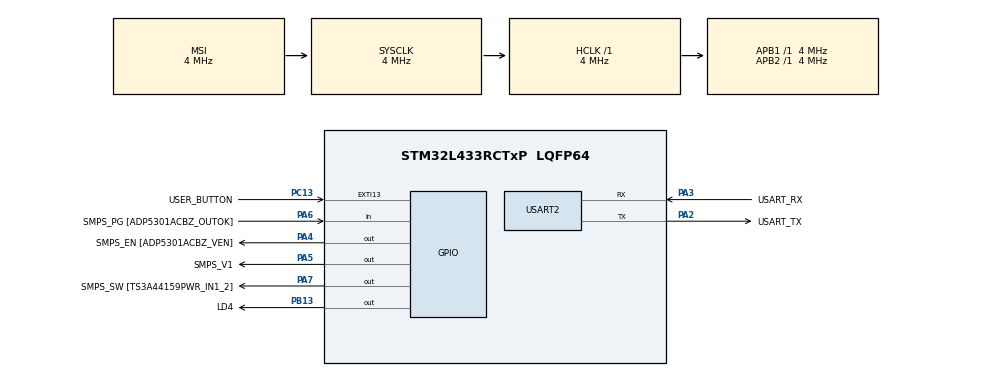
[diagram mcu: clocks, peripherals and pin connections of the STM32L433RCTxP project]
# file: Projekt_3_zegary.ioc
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IWDG.Prescaler=IWDG_PRESCALER_32
Mcu.Family=STM32L4
Mcu.Name=STM32L433RCTxP
Mcu.Package=LQFP64
NVIC.PriorityGroup=NVIC_PRIORITYGROUP_4
NVIC.RTC_WKUP_IRQn=true\:0\:0\:false\:false\:true\:true\:true\:true
PA13\ (JTMS-SWDIO).GPIO_Label=TMS
PA13\ (JTMS-SWDIO).Mode=Serial_Wire
PA13\ (JTMS-SWDIO).Signal=SYS_JTMS-SWDIO
PA14\ (JTCK-SWCLK).GPIO_Label=TCK
PA14\ (JTCK-SWCLK).Mode=Serial_Wire
PA14\ (JTCK-SWCLK).Signal=SYS_JTCK-SWCLK
PA2.GPIO_Label=USART_TX
PA2.GPIO_Mode=GPIO_MODE_AF_PP
PA2.GPIO_PuPd=GPIO_NOPULL
PA2.GPIO_Speed=GPIO_SPEED_FREQ_VERY_HIGH
PA2.Mode=Asynchronous
PA2.Signal=USART2_TX
PA3.GPIO_Label=USART_RX
PA3.GPIO_Mode=GPIO_MODE_AF_PP
PA3.GPIO_PuPd=GPIO_NOPULL
PA3.GPIO_Speed=GPIO_SPEED_FREQ_VERY_HIGH
PA3.Mode=Asynchronous
PA3.Signal=USART2_RX
PA4.GPIO_Label=SMPS_EN [ADP5301ACBZ_VEN]
PA4.Signal=GPIO_Output
PA5.GPIO_Label=SMPS_V1
PA5.GPIO_ModeDefaultOutputPP=GPIO_MODE_OUTPUT_PP
PA5.GPIO_PuPd=GPIO_NOPULL
PA5.GPIO_Speed=GPIO_SPEED_FREQ_LOW
PA5.Signal=GPIO_Output
PA6.GPIO_Label=SMPS_PG [ADP5301ACBZ_OUTOK]
PA6.GPIO_PuPd=GPIO_PULLUP
PA6.Signal=GPIO_Input
PA7.GPIO_Label=SMPS_SW [TS3A44159PWR_IN1_2]
PA7.Signal=GPIO_Output
PB13.GPIO_Label=LD4
PB13.Signal=GPIO_Output
PB3\ (JTDO-TRACESWO).GPIO_Label=SWO
PB3\ (JTDO-TRACESWO).Signal=SYS_JTDO-SWO
PC13.GPIO_Label=USER_BUTTON
PC13.GPIO_ModeDefaultEXTI=GPIO_MODE_IT_FALLING
PC13.GPIO_PuPd=GPIO_NOPULL
PC13.Signal=GPXTI13
PC14-OSC32_IN\ (PC14).Mode=LSE-External-Oscillator
PC14-OSC32_IN\ (PC14).Signal=RCC_OSC32_IN
PC15-OSC32_OUT\ (PC15).Mode=LSE-External-Oscillator
PC15-OSC32_OUT\ (PC15).Signal=RCC_OSC32_OUT
PH0-OSC_IN\ (PH0).GPIO_Label=MCO
PH0-OSC_IN\ (PH0).Mode=HSE-External-Clock-Source
PH0-OSC_IN\ (PH0).Signal=RCC_OSC_IN
PH1-OSC_OUT\ (PH1).Signal=RCC_OSC_OUT
ProjectManager.HeapSize=0x200
ProjectManager.StackSize=0x400
ProjectManager.TargetToolchain=STM32CubeIDE
RCC.ADCFreq_Value=16000000
RCC.AHBFreq_Value=4000000
RCC.APB1Freq_Value=4000000
RCC.APB1TimFreq_Value=4000000
RCC.APB2Freq_Value=4000000
RCC.APB2TimFreq_Value=4000000
RCC.CortexFreq_Value=4000000
RCC.HCLKFreq_Value=4000000
RCC.HSE_VALUE=8000000
RCC.HSI48_VALUE=48000000
RCC.HSI_VALUE=16000000
RCC.MSI_VALUE=4000000
RCC.PLLN=16
RCC.PREFETCH_ENABLE=1
RCC.RTCClockSelection=RCC_RTCCLKSOURCE_LSE
RCC.SYSCLKFreq_VALUE=4000000
RCC.USBFreq_Value=16000000
RCC.VCOOutputFreq_Value=64000000
RTC.WakeUpCounter-WakeUp=20479
USART2.VirtualMode-Asynchronous=VM_ASYNC
VP_IWDG_VS_IWDG.Mode=IWDG_Activate
VP_RTC_VS_RTC_Activate.Mode=RTC_Enabled
VP_RTC_VS_RTC_WakeUp_intern.Mode=WakeUp
board=NUCLEO-L433RC-P

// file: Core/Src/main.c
/* USER CODE BEGIN Header */
/**
  ******************************************************************************
  * @file           : main.c
  * @brief          : Main program body
  ******************************************************************************
  * @attention
  *
  * Copyright (c) 2023 STMicroelectronics.
  * All rights reserved.
  *
  * This software is licensed under terms that can be found in the LICENSE file
  * in the root directory of this software component.
  * If no LICENSE file comes with this software, it is provided AS-IS.
  *
  ******************************************************************************
  */
/* USER CODE END Header */
#include "main.h"

/* USER CODE BEGIN Includes */
#include <stdio.h>
#include <string.h>
#include <stdbool.h>
/* USER CODE END Includes */

IWDG_HandleTypeDef hiwdg;

RTC_HandleTypeDef hrtc;

UART_HandleTypeDef huart2;

void SystemClock_Config(void);
static void MX_GPIO_Init(void);
static void MX_USART2_UART_Init(void);
static void MX_RTC_Init(void);
static void MX_IWDG_Init(void);

/* USER CODE BEGIN 0 */
int __io_putchar(int ch)
{
    if (ch == '\n') {
        uint8_t ch2 = '\r';
        HAL_UART_Transmit(&huart2, &ch2, 1, HAL_MAX_DELAY);
    }

    HAL_UART_Transmit(&huart2, (uint8_t*)&ch, 1, HAL_MAX_DELAY);
    return 1;
}

bool is_button_pressed(void)
{
  if (HAL_GPIO_ReadPin(USER_BUTTON_GPIO_Port, USER_BUTTON_Pin) == GPIO_PIN_SET) {
    return true;
  } else {
    return false;
  }
}
void start_measure(void)
{
	// rozpoczęcie "pomiaru"
	HAL_GPIO_WritePin(LD4_GPIO_Port, LD4_Pin, GPIO_PIN_SET);
}

void stop_measure(void)
{
	// zakończenie "pomiaru"
	HAL_GPIO_WritePin(LD4_GPIO_Port, LD4_Pin, GPIO_PIN_RESET);
}
void HAL_Delay(uint32_t Delay)
{
  uint32_t tickstart = HAL_GetTick();
  uint32_t wait = Delay;

  /* Add a period to guaranty minimum wait */
  if (wait < HAL_MAX_DELAY)
  {
    wait += (uint32_t)uwTickFreq;
  }

  while ((HAL_GetTick() - tickstart) < wait)
  {
	  __WFI();
  }
}

/* USER CODE END 0 */

int main(void)
{

  /* MCU Configuration--------------------------------------------------------*/

  /* Reset of all peripherals, Initializes the Flash interface and the Systick. */
  HAL_Init();

  /* Configure the system clock */
  SystemClock_Config();

  /* Initialize all configured peripherals */
  MX_GPIO_Init();
  MX_USART2_UART_Init();
  MX_RTC_Init();
  MX_IWDG_Init();
  /* USER CODE BEGIN 2 */

  start_measure();
    HAL_Delay(50);
    stop_measure();

    /* Enter the Standby mode */
    HAL_PWR_EnterSTANDBYMode();

  /* RTC_DateTypeDef today;
  	  today.Month = 03;
  	  today.Date = 7;
  	  today.Year = 23;
  	  today.WeekDay = RTC_WEEKDAY_TUESDAY;
  	  HAL_RTC_SetDate(&hrtc, &today, RTC_FORMAT_BIN);
  	   */

  /* USER CODE END 2 */

  /* Infinite loop */
  /* USER CODE BEGIN WHILE */
  	  uint32_t last_ms = HAL_GetTick();

  while (1)
  {

	  /*  // wykonanie pomiaru
	  		start_measure();
	  		HAL_Delay(50);
	  		stop_measure();

	  		// 10s przerwy
	  		HAL_Delay(10000);
	  		*/

	  /* uint32_t now = HAL_GetTick();
	  	  if (is_button_pressed()) {
	  		  while (1) ;
	  	  }

	  	  if (now - last_ms >= 500) {
	  		  HAL_GPIO_TogglePin(LD4_GPIO_Port, LD4_Pin);
	  		  last_ms = now;

	  		  HAL_IWDG_Refresh(&hiwdg);
	  	  }

	  RTC_TimeTypeDef time;
	  RTC_DateTypeDef date;
	  if(is_button_pressed()){
		  RTC_TimeTypeDef new_time = {};
		  while (is_button_pressed()) {};
		  new_time.Hours = 7;
		  new_time.Minutes = 45;
		  new_time.Seconds = 0;
		  HAL_RTC_SetTime(&hrtc, &new_time, RTC_FORMAT_BIN);

	  }

	  HAL_RTC_GetTime(&hrtc, &time, RTC_FORMAT_BIN);
	  HAL_RTC_GetDate(&hrtc, &date, RTC_FORMAT_BIN);

	  printf("Aktualny czas: %02d:%02d:%02d\n", time.Hours, time.Minutes, time.Seconds);
	  HAL_Delay(200);

	  RTC_TimeTypeDef time;
	  RTC_DateTypeDef date;

	  HAL_RTC_GetTime(&hrtc, &time, RTC_FORMAT_BIN);
	  HAL_RTC_GetDate(&hrtc, &date, RTC_FORMAT_BIN);

	  printf("RTC: %04d-%02d-%02d, %02d:%02d:%02d\n", 2000 + date.Year, date.Month, date.Date, time.Hours, time.Minutes, time.Seconds);
	  HAL_Delay(200);
	  */

    /* USER CODE END WHILE */

  }
}

void SystemClock_Config(void)
{
  RCC_OscInitTypeDef RCC_OscInitStruct = {0};
  RCC_ClkInitTypeDef RCC_ClkInitStruct = {0};

  /** Configure the main internal regulator output voltage
  */
  if (HAL_PWREx_ControlVoltageScaling(PWR_REGULATOR_VOLTAGE_SCALE1) != HAL_OK)
  {
    Error_Handler();
  }

  /** Configure LSE Drive Capability
  */
  HAL_PWR_EnableBkUpAccess();
  __HAL_RCC_LSEDRIVE_CONFIG(RCC_LSEDRIVE_LOW);

  /** Initializes the RCC Oscillators according to the specified parameters
  * in the RCC_OscInitTypeDef structure.
  */
  RCC_OscInitStruct.OscillatorType = RCC_OSCILLATORTYPE_LSI|RCC_OSCILLATORTYPE_LSE
                              |RCC_OSCILLATORTYPE_MSI;
  RCC_OscInitStruct.LSEState = RCC_LSE_ON;
  RCC_OscInitStruct.LSIState = RCC_LSI_ON;
  RCC_OscInitStruct.MSIState = RCC_MSI_ON;
  RCC_OscInitStruct.MSICalibrationValue = 0;
  RCC_OscInitStruct.MSIClockRange = RCC_MSIRANGE_6;
  RCC_OscInitStruct.PLL.PLLState = RCC_PLL_NONE;
  if (HAL_RCC_OscConfig(&RCC_OscInitStruct) != HAL_OK)
  {
    Error_Handler();
  }

  /** Initializes the CPU, AHB and APB buses clocks
  */
  RCC_ClkInitStruct.ClockType = RCC_CLOCKTYPE_HCLK|RCC_CLOCKTYPE_SYSCLK
                              |RCC_CLOCKTYPE_PCLK1|RCC_CLOCKTYPE_PCLK2;
  RCC_ClkInitStruct.SYSCLKSource = RCC_SYSCLKSOURCE_MSI;
  RCC_ClkInitStruct.AHBCLKDivider = RCC_SYSCLK_DIV1;
  RCC_ClkInitStruct.APB1CLKDivider = RCC_HCLK_DIV1;
  RCC_ClkInitStruct.APB2CLKDivider = RCC_HCLK_DIV1;

  if (HAL_RCC_ClockConfig(&RCC_ClkInitStruct, FLASH_LATENCY_0) != HAL_OK)
  {
    Error_Handler();
  }

  /** Enable MSI Auto calibration
  */
  HAL_RCCEx_EnableMSIPLLMode();
}

static void MX_IWDG_Init(void)
{

  hiwdg.Instance = IWDG;
  hiwdg.Init.Prescaler = IWDG_PRESCALER_32;
  hiwdg.Init.Window = 4095;
  hiwdg.Init.Reload = 4095;
  if (HAL_IWDG_Init(&hiwdg) != HAL_OK)
  {
    Error_Handler();
  }

}

static void MX_RTC_Init(void)
{

  /** Initialize RTC Only
  */
  hrtc.Instance = RTC;
  hrtc.Init.HourFormat = RTC_HOURFORMAT_24;
  hrtc.Init.AsynchPrediv = 127;
  hrtc.Init.SynchPrediv = 255;
  hrtc.Init.OutPut = RTC_OUTPUT_DISABLE;
  hrtc.Init.OutPutRemap = RTC_OUTPUT_REMAP_NONE;
  hrtc.Init.OutPutPolarity = RTC_OUTPUT_POLARITY_HIGH;
  hrtc.Init.OutPutType = RTC_OUTPUT_TYPE_OPENDRAIN;
  if (HAL_RTC_Init(&hrtc) != HAL_OK)
  {
    Error_Handler();
  }

}

static void MX_USART2_UART_Init(void)
{

  huart2.Instance = USART2;
  huart2.Init.BaudRate = 115200;
  huart2.Init.WordLength = UART_WORDLENGTH_8B;
  huart2.Init.StopBits = UART_STOPBITS_1;
  huart2.Init.Parity = UART_PARITY_NONE;
  huart2.Init.Mode = UART_MODE_TX_RX;
  huart2.Init.HwFlowCtl = UART_HWCONTROL_NONE;
  huart2.Init.OverSampling = UART_OVERSAMPLING_16;
  huart2.Init.OneBitSampling = UART_ONE_BIT_SAMPLE_DISABLE;
  huart2.AdvancedInit.AdvFeatureInit = UART_ADVFEATURE_NO_INIT;
  if (HAL_UART_Init(&huart2) != HAL_OK)
  {
    Error_Handler();
  }

}

static void MX_GPIO_Init(void)
{
  GPIO_InitTypeDef GPIO_InitStruct = {0};

  /* GPIO Ports Clock Enable */
  __HAL_RCC_GPIOC_CLK_ENABLE();
  __HAL_RCC_GPIOH_CLK_ENABLE();
  __HAL_RCC_GPIOA_CLK_ENABLE();
  __HAL_RCC_GPIOB_CLK_ENABLE();

  /*Configure GPIO pin Output Level */
  HAL_GPIO_WritePin(GPIOA, SMPS_EN_Pin|SMPS_V1_Pin|SMPS_SW_Pin, GPIO_PIN_RESET);

  /*Configure GPIO pin Output Level */
  HAL_GPIO_WritePin(LD4_GPIO_Port, LD4_Pin, GPIO_PIN_RESET);

  /*Configure GPIO pin : USER_BUTTON_Pin */
  GPIO_InitStruct.Pin = USER_BUTTON_Pin;
  GPIO_InitStruct.Mode = GPIO_MODE_IT_FALLING;
  GPIO_InitStruct.Pull = GPIO_NOPULL;
  HAL_GPIO_Init(USER_BUTTON_GPIO_Port, &GPIO_InitStruct);

  /*Configure GPIO pins : SMPS_EN_Pin SMPS_V1_Pin SMPS_SW_Pin */
  GPIO_InitStruct.Pin = SMPS_EN_Pin|SMPS_V1_Pin|SMPS_SW_Pin;
  GPIO_InitStruct.Mode = GPIO_MODE_OUTPUT_PP;
  GPIO_InitStruct.Pull = GPIO_NOPULL;
  GPIO_InitStruct.Speed = GPIO_SPEED_FREQ_LOW;
  HAL_GPIO_Init(GPIOA, &GPIO_InitStruct);

  /*Configure GPIO pin : SMPS_PG_Pin */
  GPIO_InitStruct.Pin = SMPS_PG_Pin;
  GPIO_InitStruct.Mode = GPIO_MODE_INPUT;
  GPIO_InitStruct.Pull = GPIO_PULLUP;
  HAL_GPIO_Init(SMPS_PG_GPIO_Port, &GPIO_InitStruct);

  /*Configure GPIO pin : LD4_Pin */
  GPIO_InitStruct.Pin = LD4_Pin;
  GPIO_InitStruct.Mode = GPIO_MODE_OUTPUT_PP;
  GPIO_InitStruct.Pull = GPIO_NOPULL;
  GPIO_InitStruct.Speed = GPIO_SPEED_FREQ_LOW;
  HAL_GPIO_Init(LD4_GPIO_Port, &GPIO_InitStruct);

}

void Error_Handler(void)
{
  __disable_irq();
  while (1)
  {
  }
}
